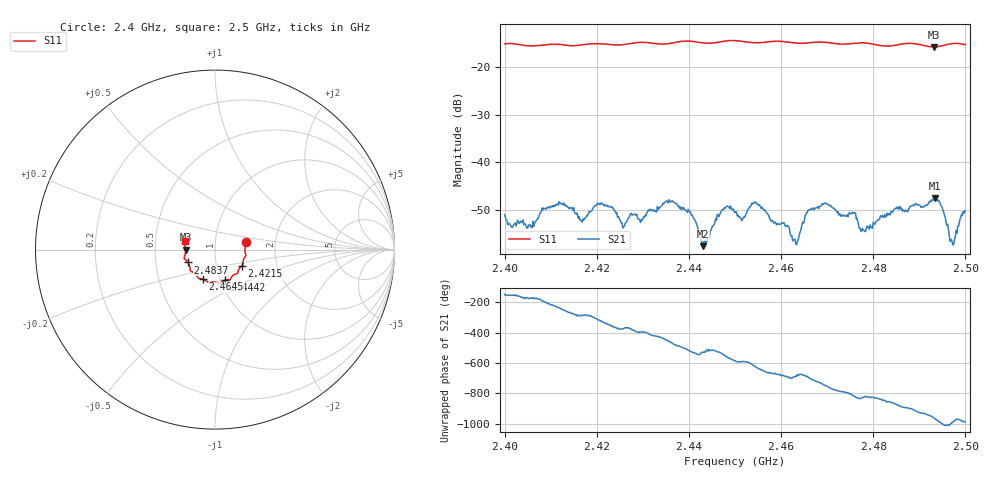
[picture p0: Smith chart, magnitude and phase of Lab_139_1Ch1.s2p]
# Hz S RI R 50
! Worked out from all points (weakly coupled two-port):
!   601 points, 2.4 GHz to 2.5 GHz, reference 50 ohm
!   highest |S21| = -47.48 dB at 2.4933 GHz (marker M1); lowest = -57.6 dB at 2.443 GHz (marker M2)
!   lowest |S11| = -15.7 dB at 2.4932 GHz (marker M3), VSWR 1.39, Z = 35.9 - j0.0566 ohm
!   |S11| at or under -10 dB: start of sweep to end of sweep
!   S12 and S22 are empty: the file has one direction only
!   S11 on the Smith chart (normalised r, x): 2.4 GHz: 1.41, +0.12; 2.4215 GHz: 1.33, -0.25; 2.4442 GHz: 1.05, -0.37; 2.4645 GHz: 0.83, -0.29; 2.4837 GHz: 0.73, -0.11; 2.5 GHz: 0.71, +0.07
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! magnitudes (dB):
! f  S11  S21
! 2.4 GHz  -15.1  -51.0
! 2.4055 GHz  -15.5  -53.0
! 2.4123 GHz  -15.2  -48.7
! 2.4167 GHz  -15.3  -52.3
! 2.4215 GHz  -15.1  -48.8
! 2.4258 GHz  -15.2  -53.5
! 2.4333 GHz  -15.1  -49.9
! 2.4398 GHz  -14.5  -49.8
! 2.443 GHz  -14.9  -57.6
! 2.4442 GHz  -15.0  -55.7
! 2.45 GHz  -14.4  -50.5
! 2.4548 GHz  -14.9  -48.6
! 2.463 GHz  -14.9  -56.2
! 2.4645 GHz  -15.0  -53.2
! 2.4667 GHz  -14.8  -49.8
! 2.4778 GHz  -14.9  -54.2
! 2.4833 GHz  -15.6  -50.8
! 2.4837 GHz  -15.5  -51.0
! 2.4932 GHz  -15.7  -47.7
! 2.4933 GHz  -15.7  -47.5
! 2.4972 GHz  -15.0  -56.9
! 2.5 GHz  -15.3  -50.3
